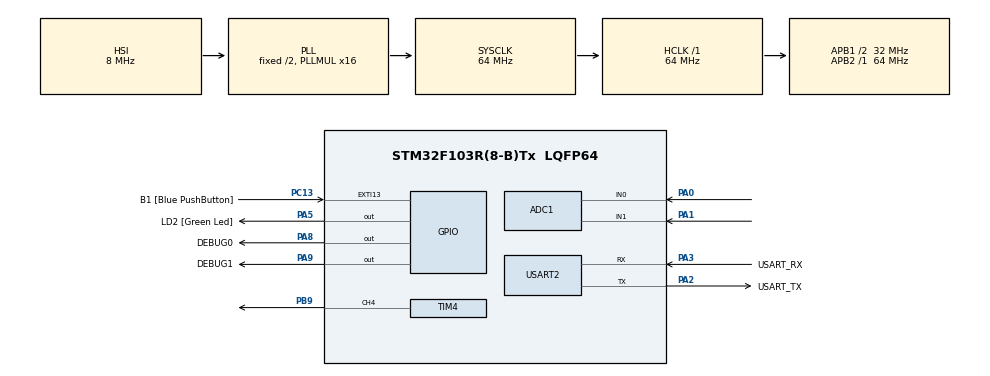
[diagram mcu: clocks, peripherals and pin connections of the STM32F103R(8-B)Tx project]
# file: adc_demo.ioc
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ADC1.Channel-0\#ChannelRegularConversion=ADC_CHANNEL_TEMPSENSOR
ADC1.Channel-1\#ChannelRegularConversion=ADC_CHANNEL_0
ADC1.Channel-2\#ChannelRegularConversion=ADC_CHANNEL_1
ADC1.ContinuousConvMode=DISABLE
ADC1.ExternalTrigConv=ADC_EXTERNALTRIGCONV_T4_CC4
ADC1.NbrOfConversion=3
ADC1.NbrOfConversionFlag=1
ADC1.Rank-0\#ChannelRegularConversion=1
ADC1.Rank-1\#ChannelRegularConversion=2
ADC1.Rank-2\#ChannelRegularConversion=3
ADC1.SamplingTime-0\#ChannelRegularConversion=ADC_SAMPLETIME_239CYCLES_5
ADC1.SamplingTime-1\#ChannelRegularConversion=ADC_SAMPLETIME_7CYCLES_5
ADC1.SamplingTime-2\#ChannelRegularConversion=ADC_SAMPLETIME_7CYCLES_5
ADC1.master=1
Dma.ADC1.0.Direction=DMA_PERIPH_TO_MEMORY
Dma.ADC1.0.Instance=DMA1_Channel1
Dma.ADC1.0.MemDataAlignment=DMA_MDATAALIGN_HALFWORD
Dma.ADC1.0.MemInc=DMA_MINC_ENABLE
Dma.ADC1.0.Mode=DMA_CIRCULAR
Dma.ADC1.0.PeriphDataAlignment=DMA_PDATAALIGN_HALFWORD
Dma.ADC1.0.PeriphInc=DMA_PINC_DISABLE
Dma.ADC1.0.Priority=DMA_PRIORITY_LOW
Dma.Request0=ADC1
Mcu.Family=STM32F1
Mcu.Name=STM32F103R(8-B)Tx
Mcu.Package=LQFP64
NVIC.ADC1_2_IRQn=true\:0\:0\:false\:false\:true\:true\:true
NVIC.DMA1_Channel1_IRQn=true\:0\:0\:false\:false\:true\:false\:true
NVIC.PriorityGroup=NVIC_PRIORITYGROUP_4
PA0-WKUP.Signal=ADCx_IN0
PA1.Signal=ADCx_IN1
PA13.GPIO_Label=TMS
PA13.Mode=Trace_Asynchronous_SW
PA13.Signal=SYS_JTMS-SWDIO
PA14.GPIO_Label=TCK
PA14.Mode=Trace_Asynchronous_SW
PA14.Signal=SYS_JTCK-SWCLK
PA2.GPIO_Label=USART_TX
PA2.GPIO_Mode=GPIO_MODE_AF_PP
PA2.GPIO_PuPd=GPIO_NOPULL
PA2.GPIO_Speed=GPIO_SPEED_FREQ_LOW
PA2.Mode=Asynchronous
PA2.Signal=USART2_TX
PA3.GPIO_Label=USART_RX
PA3.GPIO_Mode=GPIO_MODE_AF_PP
PA3.GPIO_PuPd=GPIO_NOPULL
PA3.GPIO_Speed=GPIO_SPEED_FREQ_LOW
PA3.Mode=Asynchronous
PA3.Signal=USART2_RX
PA5.GPIO_Label=LD2 [Green Led]
PA5.GPIO_ModeDefaultOutputPP=GPIO_MODE_OUTPUT_PP
PA5.GPIO_PuPd=GPIO_NOPULL
PA5.GPIO_Speed=GPIO_SPEED_FREQ_LOW
PA5.Signal=GPIO_Output
PA8.GPIO_Label=DEBUG0
PA8.Signal=GPIO_Output
PA9.GPIO_Label=DEBUG1
PA9.Signal=GPIO_Output
PB3.GPIO_Label=SWO
PB3.Mode=Trace_Asynchronous_SW
PB3.Signal=SYS_JTDO-TRACESWO
PB9.Signal=S_TIM4_CH4
PC13-TAMPER-RTC.GPIO_Label=B1 [Blue PushButton]
PC13-TAMPER-RTC.GPIO_PuPd=GPIO_NOPULL
PC13-TAMPER-RTC.Signal=GPXTI13
PC14-OSC32_IN.Mode=LSE-External-Oscillator
PC14-OSC32_IN.Signal=RCC_OSC32_IN
PC15-OSC32_OUT.Mode=LSE-External-Oscillator
PC15-OSC32_OUT.Signal=RCC_OSC32_OUT
PD0-OSC_IN.Mode=HSE-External-Clock-Source
PD0-OSC_IN.Signal=RCC_OSC_IN
PD1-OSC_OUT.Mode=HSE-External-Clock-Source
PD1-OSC_OUT.Signal=RCC_OSC_OUT
ProjectManager.HeapSize=0x200
ProjectManager.StackSize=0x400
ProjectManager.TargetToolchain=Makefile
RCC.ADCPresc=RCC_ADCPCLK2_DIV8
RCC.AHBFreq_Value=64000000
RCC.APB1CLKDivider=RCC_HCLK_DIV2
RCC.APB1Freq_Value=32000000
RCC.APB1TimFreq_Value=64000000
RCC.APB2Freq_Value=64000000
RCC.APB2TimFreq_Value=64000000
RCC.HCLKFreq_Value=64000000
RCC.PLLMUL=RCC_PLL_MUL16
RCC.RTCClockSelection=RCC_RTCCLKSOURCE_LSE
RCC.SYSCLKFreq_VALUE=64000000
RCC.SYSCLKSource=RCC_SYSCLKSOURCE_PLLCLK
RCC.USBFreq_Value=64000000
SH.ADCx_IN0.0=ADC1_IN0,IN0
SH.ADCx_IN1.0=ADC1_IN1,IN1
SH.S_TIM4_CH4.0=TIM4_CH4,PWM Generation4 CH4
TIM4.Channel-PWM\ Generation4\ CH4=TIM_CHANNEL_4
TIM4.Period=99
TIM4.Prescaler=4999
TIM4.Pulse-PWM\ Generation4\ CH4=50
USART2.VirtualMode=VM_ASYNC
VP_ADC1_TempSens_Input.Mode=IN-TempSens
board=NUCLEO-F103RB

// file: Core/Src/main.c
/* USER CODE BEGIN Header */
/**
 * @file main.c
 *
 * Demonstration of operation of an STM32 ADC.
 *
 * This version uses a timer to trigger an ADC "scan" conversion of three
 * channels at a fixed rate. On each trigger, the 3 readings are taken as fast
 * as the ADC itself is set to perform the conversions and these are transferred
 * into a single shared buffer by the DMA. The buffer looks like
 * [ ch1read1, ch2read1, ch3read1, ch1read2, ch2read2, ch3read2, ...]
 *
 * NOTE: The ADC must NOT be configured for continuous conversions when
 * being triggered by a timer.
 *
 * When the DMA has filled the first half of the buffer, it raises an interrupt
 * and HAL_ADC_ConvHalfCpltCallback() is called. Here the first half of the
 * buffer is processed while the ADC and DMA continue to fill the 2nd half of
 * the buffer.
 *
 * When the DMA has finished filling the 2nd half of the buffer, it raises an
 * interrupt again, the HAL_ADC_ConvCpltCallback() is called. Here the 2nd half
 * of the buffer is processed. While that processing is happening, the DMA
 * loops back to the beginning of the buffer and starts overwriting the previous
 * readings in the first half (it is configured in circular mode).
 * This way, the cycle can continue indefinitely.
 *
 */
/* USER CODE END Header */
#include "main.h"

/* USER CODE BEGIN Includes */
#include <stdio.h>
/* USER CODE END Includes */

/* USER CODE BEGIN PD */
#define NUM_ANALOG_CHANNELS 3
#define ADC_BUF_LENGTH_PER_CHANNEL 256
#define ADC_BUF_LENGTH (ADC_BUF_LENGTH_PER_CHANNEL * NUM_ANALOG_CHANNELS)
#define TEMP_SLOPE 0.0043 // V / degC
#define VOLT_25DEG 1.38 // V
/* USER CODE END PD */

ADC_HandleTypeDef hadc1;
DMA_HandleTypeDef hdma_adc1;

TIM_HandleTypeDef htim4;

UART_HandleTypeDef huart2;

/* USER CODE BEGIN PV */
volatile uint16_t adc_buf[ADC_BUF_LENGTH] = {0};
/* USER CODE END PV */

void SystemClock_Config(void);
static void MX_GPIO_Init(void);
static void MX_DMA_Init(void);
static void MX_ADC1_Init(void);
static void MX_USART2_UART_Init(void);
static void MX_TIM4_Init(void);
/* USER CODE BEGIN PFP */
void processReadings(int half, float result[]);
float convertTemp(float raw_adc_reading);

/* USER CODE END PFP */

int main(void)
{

  /* MCU Configuration--------------------------------------------------------*/

  /* Reset of all peripherals, Initializes the Flash interface and the Systick. */
  HAL_Init();

  /* USER CODE BEGIN Init */

  __HAL_DBGMCU_FREEZE_TIM4(); // Pause timer 4 on debug

  /* USER CODE END Init */

  /* Configure the system clock */
  SystemClock_Config();

  /* Initialize all configured peripherals */
  MX_GPIO_Init();
  MX_DMA_Init();
  MX_ADC1_Init();
  MX_USART2_UART_Init();
  MX_TIM4_Init();
  /* USER CODE BEGIN 2 */
  HAL_TIM_PWM_Start(&htim4, TIM_CHANNEL_4);
  HAL_ADC_Start_DMA(&hadc1, (uint32_t *) adc_buf, ADC_BUF_LENGTH);
  printf("ADC started\n");
  /* USER CODE END 2 */

  /* Infinite loop */
  /* USER CODE BEGIN WHILE */
  while (1)
  {
    HAL_GPIO_TogglePin(LD2_GPIO_Port, LD2_Pin);
    HAL_Delay(500);
    /* USER CODE END WHILE */

  }
}

void SystemClock_Config(void)
{
  RCC_OscInitTypeDef RCC_OscInitStruct = {0};
  RCC_ClkInitTypeDef RCC_ClkInitStruct = {0};
  RCC_PeriphCLKInitTypeDef PeriphClkInit = {0};

  /** Initializes the RCC Oscillators according to the specified parameters
  * in the RCC_OscInitTypeDef structure.
  */
  RCC_OscInitStruct.OscillatorType = RCC_OSCILLATORTYPE_HSI;
  RCC_OscInitStruct.HSIState = RCC_HSI_ON;
  RCC_OscInitStruct.HSICalibrationValue = RCC_HSICALIBRATION_DEFAULT;
  RCC_OscInitStruct.PLL.PLLState = RCC_PLL_ON;
  RCC_OscInitStruct.PLL.PLLSource = RCC_PLLSOURCE_HSI_DIV2;
  RCC_OscInitStruct.PLL.PLLMUL = RCC_PLL_MUL16;
  if (HAL_RCC_OscConfig(&RCC_OscInitStruct) != HAL_OK)
  {
    Error_Handler();
  }
  /** Initializes the CPU, AHB and APB buses clocks
  */
  RCC_ClkInitStruct.ClockType = RCC_CLOCKTYPE_HCLK|RCC_CLOCKTYPE_SYSCLK
                              |RCC_CLOCKTYPE_PCLK1|RCC_CLOCKTYPE_PCLK2;
  RCC_ClkInitStruct.SYSCLKSource = RCC_SYSCLKSOURCE_PLLCLK;
  RCC_ClkInitStruct.AHBCLKDivider = RCC_SYSCLK_DIV1;
  RCC_ClkInitStruct.APB1CLKDivider = RCC_HCLK_DIV2;
  RCC_ClkInitStruct.APB2CLKDivider = RCC_HCLK_DIV1;

  if (HAL_RCC_ClockConfig(&RCC_ClkInitStruct, FLASH_LATENCY_2) != HAL_OK)
  {
    Error_Handler();
  }
  PeriphClkInit.PeriphClockSelection = RCC_PERIPHCLK_ADC;
  PeriphClkInit.AdcClockSelection = RCC_ADCPCLK2_DIV8;
  if (HAL_RCCEx_PeriphCLKConfig(&PeriphClkInit) != HAL_OK)
  {
    Error_Handler();
  }
}

static void MX_ADC1_Init(void)
{

  ADC_ChannelConfTypeDef sConfig = {0};

  /** Common config
  */
  hadc1.Instance = ADC1;
  hadc1.Init.ScanConvMode = ADC_SCAN_ENABLE;
  hadc1.Init.ContinuousConvMode = DISABLE;
  hadc1.Init.DiscontinuousConvMode = DISABLE;
  hadc1.Init.ExternalTrigConv = ADC_EXTERNALTRIGCONV_T4_CC4;
  hadc1.Init.DataAlign = ADC_DATAALIGN_RIGHT;
  hadc1.Init.NbrOfConversion = 3;
  if (HAL_ADC_Init(&hadc1) != HAL_OK)
  {
    Error_Handler();
  }
  /** Configure Regular Channel
  */
  sConfig.Channel = ADC_CHANNEL_TEMPSENSOR;
  sConfig.Rank = ADC_REGULAR_RANK_1;
  sConfig.SamplingTime = ADC_SAMPLETIME_239CYCLES_5;
  if (HAL_ADC_ConfigChannel(&hadc1, &sConfig) != HAL_OK)
  {
    Error_Handler();
  }
  /** Configure Regular Channel
  */
  sConfig.Channel = ADC_CHANNEL_0;
  sConfig.Rank = ADC_REGULAR_RANK_2;
  sConfig.SamplingTime = ADC_SAMPLETIME_7CYCLES_5;
  if (HAL_ADC_ConfigChannel(&hadc1, &sConfig) != HAL_OK)
  {
    Error_Handler();
  }
  /** Configure Regular Channel
  */
  sConfig.Channel = ADC_CHANNEL_1;
  sConfig.Rank = ADC_REGULAR_RANK_3;
  if (HAL_ADC_ConfigChannel(&hadc1, &sConfig) != HAL_OK)
  {
    Error_Handler();
  }

}

static void MX_TIM4_Init(void)
{

  TIM_MasterConfigTypeDef sMasterConfig = {0};
  TIM_OC_InitTypeDef sConfigOC = {0};

  htim4.Instance = TIM4;
  htim4.Init.Prescaler = 4999;
  htim4.Init.CounterMode = TIM_COUNTERMODE_UP;
  htim4.Init.Period = 99;
  htim4.Init.ClockDivision = TIM_CLOCKDIVISION_DIV1;
  htim4.Init.AutoReloadPreload = TIM_AUTORELOAD_PRELOAD_DISABLE;
  if (HAL_TIM_PWM_Init(&htim4) != HAL_OK)
  {
    Error_Handler();
  }
  sMasterConfig.MasterOutputTrigger = TIM_TRGO_RESET;
  sMasterConfig.MasterSlaveMode = TIM_MASTERSLAVEMODE_DISABLE;
  if (HAL_TIMEx_MasterConfigSynchronization(&htim4, &sMasterConfig) != HAL_OK)
  {
    Error_Handler();
  }
  sConfigOC.OCMode = TIM_OCMODE_PWM1;
  sConfigOC.Pulse = 50;
  sConfigOC.OCPolarity = TIM_OCPOLARITY_HIGH;
  sConfigOC.OCFastMode = TIM_OCFAST_DISABLE;
  if (HAL_TIM_PWM_ConfigChannel(&htim4, &sConfigOC, TIM_CHANNEL_4) != HAL_OK)
  {
    Error_Handler();
  }
  HAL_TIM_MspPostInit(&htim4);

}

static void MX_USART2_UART_Init(void)
{

  huart2.Instance = USART2;
  huart2.Init.BaudRate = 115200;
  huart2.Init.WordLength = UART_WORDLENGTH_8B;
  huart2.Init.StopBits = UART_STOPBITS_1;
  huart2.Init.Parity = UART_PARITY_NONE;
  huart2.Init.Mode = UART_MODE_TX_RX;
  huart2.Init.HwFlowCtl = UART_HWCONTROL_NONE;
  huart2.Init.OverSampling = UART_OVERSAMPLING_16;
  if (HAL_UART_Init(&huart2) != HAL_OK)
  {
    Error_Handler();
  }

}

static void MX_DMA_Init(void)
{

  /* DMA controller clock enable */
  __HAL_RCC_DMA1_CLK_ENABLE();

  /* DMA interrupt init */
  /* DMA1_Channel1_IRQn interrupt configuration */
  HAL_NVIC_SetPriority(DMA1_Channel1_IRQn, 0, 0);
  HAL_NVIC_EnableIRQ(DMA1_Channel1_IRQn);

}

static void MX_GPIO_Init(void)
{
  GPIO_InitTypeDef GPIO_InitStruct = {0};

  /* GPIO Ports Clock Enable */
  __HAL_RCC_GPIOC_CLK_ENABLE();
  __HAL_RCC_GPIOD_CLK_ENABLE();
  __HAL_RCC_GPIOA_CLK_ENABLE();
  __HAL_RCC_GPIOB_CLK_ENABLE();

  /*Configure GPIO pin Output Level */
  HAL_GPIO_WritePin(GPIOA, LD2_Pin|DEBUG0_Pin|DEBUG1_Pin, GPIO_PIN_RESET);

  /*Configure GPIO pin : B1_Pin */
  GPIO_InitStruct.Pin = B1_Pin;
  GPIO_InitStruct.Mode = GPIO_MODE_IT_RISING;
  GPIO_InitStruct.Pull = GPIO_NOPULL;
  HAL_GPIO_Init(B1_GPIO_Port, &GPIO_InitStruct);

  /*Configure GPIO pins : LD2_Pin DEBUG0_Pin DEBUG1_Pin */
  GPIO_InitStruct.Pin = LD2_Pin|DEBUG0_Pin|DEBUG1_Pin;
  GPIO_InitStruct.Mode = GPIO_MODE_OUTPUT_PP;
  GPIO_InitStruct.Pull = GPIO_NOPULL;
  GPIO_InitStruct.Speed = GPIO_SPEED_FREQ_LOW;
  HAL_GPIO_Init(GPIOA, &GPIO_InitStruct);

}

/* USER CODE BEGIN 4 */

// Conversion half complete DMA interrupt callback
void HAL_ADC_ConvHalfCpltCallback(ADC_HandleTypeDef* hadc)
{
  static float result[NUM_ANALOG_CHANNELS] = {0.0};
  HAL_GPIO_TogglePin(DEBUG0_GPIO_Port, DEBUG0_Pin);
  // Average 1st half of the buffer
  processReadings(0, result);
  convertTemp(result[0]);
  printf(", %.2f, %.2f\n", result[1], result[2]);
}

// Conversion complete DMA interrupt callback
void HAL_ADC_ConvCpltCallback(ADC_HandleTypeDef* hadc)
{
  static float result[NUM_ANALOG_CHANNELS] = {0.0};
  HAL_GPIO_TogglePin(DEBUG1_GPIO_Port, DEBUG1_Pin);
  // Average 2nd half of the buffer
  processReadings(1, result);
  convertTemp(result[0]);
  printf(", %.2f, %.2f\n", result[1], result[2]);
}

void HAL_ADC_ErrorCallback(ADC_HandleTypeDef* hadc)
{
  printf("ADC ERROR\n");
  while(1);
}

void processReadings(int half, float result[])
{
  int32_t sum[NUM_ANALOG_CHANNELS] = {0};
  int sample_num = 0;
  int limit = ADC_BUF_LENGTH_PER_CHANNEL >> 1; // divide by 2
  if(half == 1)
  {
    sample_num = ADC_BUF_LENGTH_PER_CHANNEL >> 1;
    limit = ADC_BUF_LENGTH_PER_CHANNEL;
  }

  // Average the samples
  for(; sample_num < limit; sample_num++)
  {
    for(int channel = 0; channel < NUM_ANALOG_CHANNELS; channel++)
    {
      sum[channel] += adc_buf[NUM_ANALOG_CHANNELS * sample_num + channel];
    }
  }

  for(int channel = 0; channel < NUM_ANALOG_CHANNELS; channel++)
  {
    result[channel] = ((float) sum[channel]) / (ADC_BUF_LENGTH_PER_CHANNEL >> 1);
  }

  return;
}

float convertTemp(float raw_adc_reading)
{
  float voltage = raw_adc_reading * 3.3 / 4095;
  float temperature = ((voltage - VOLT_25DEG) / TEMP_SLOPE) + 25.0;
  printf("A=%.2f V=%.2f T=%.2f", raw_adc_reading, voltage, temperature);
  return temperature;
}

// Configure where printf() and putchar() output goes
int __io_putchar(int ch)
{
    // Un-comment either (or both) function call to route debugging output

    // Output on Serial Wire Output (SWO)
    //ITM_SendChar(ch);

    // Output on UART
    HAL_UART_Transmit(&huart2, (uint8_t *)&ch, 1, 0xFFFF);

    return (ch);
}

int _write(int file, char *ptr, int len)
{
  int DataIdx;
  for (DataIdx = 0; DataIdx < len; DataIdx++) {
    __io_putchar( *ptr++ );
  }
  return len;
}

/* USER CODE END 4 */

void Error_Handler(void)
{
  __disable_irq();
  while (1)
  {
  }
}

/************************ (C) COPYRIGHT STMicroelectronics *****END OF FILE****/
